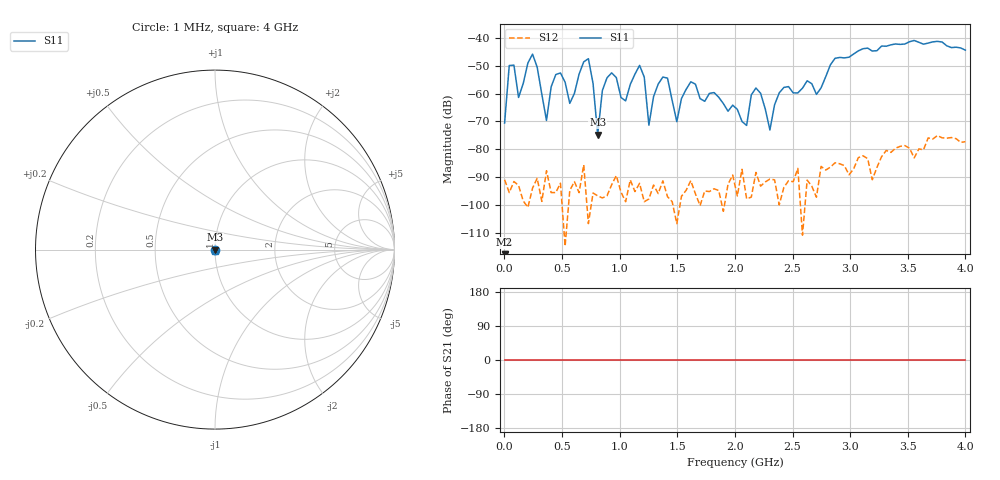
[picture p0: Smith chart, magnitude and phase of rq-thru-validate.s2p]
!Created with skrf (http://scikit-rf.org).
# GHz S DB R 50.0
!freq dBS11 angS11 dBS21 angS21 dBS12 angS12 dBS22 angS22
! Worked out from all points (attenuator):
!   100 points, 1 MHz to 4 GHz, reference 50 ohm
!   highest |S21| = - dB at 1 MHz (marker M1); lowest = - dB at 1 MHz (marker M2)
!   lowest |S11| = -74.8 dB at 808.9 MHz (marker M3), VSWR 1.00, Z = 50 - j0.00178 ohm
!   |S11| at or under -10 dB: start of sweep to end of sweep
!   |S22| runs from - to - dB; largest |S21 - S12| = 0.00018
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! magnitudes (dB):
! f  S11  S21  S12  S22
! 1 MHz  -70.6  -  -91.0  -
! 41.39 MHz  -49.9  -  -95.6  -
! 122.2 MHz  -61.4  -  -93.1  -
! 243.4 MHz  -45.8  -  -94.0  -
! 364.5 MHz  -69.7  -  -87.8  -
! 445.3 MHz  -53.2  -  -95.6  -
! 566.5 MHz  -63.5  -  -94.9  -
! 687.7 MHz  -48.6  -  -85.6  -
! 808.9 MHz  -74.8  -  -96.8  -
! 930.1 MHz  -52.6  -  -92.8  -
! 1.051 GHz  -62.6  -  -98.9  -
! 1.172 GHz  -49.9  -  -92.3  -
! 1.253 GHz  -71.4  -  -97.9  -
! 1.334 GHz  -56.6  -  -96.0  -
! 1.496 GHz  -70.1  -  -106.8  -
! 1.617 GHz  -55.8  -  -91.3  -
! 2.021 GHz  -65.7  -  -96.8  -
! 2.182 GHz  -58.0  -  -88.4  -
! 2.303 GHz  -73.1  -  -90.8  -
! 2.667 GHz  -56.5  -  -93.3  -
! 3.354 GHz  -42.5  -  -81.2  -
! 4 GHz  -44.4  -  -77.3  -
